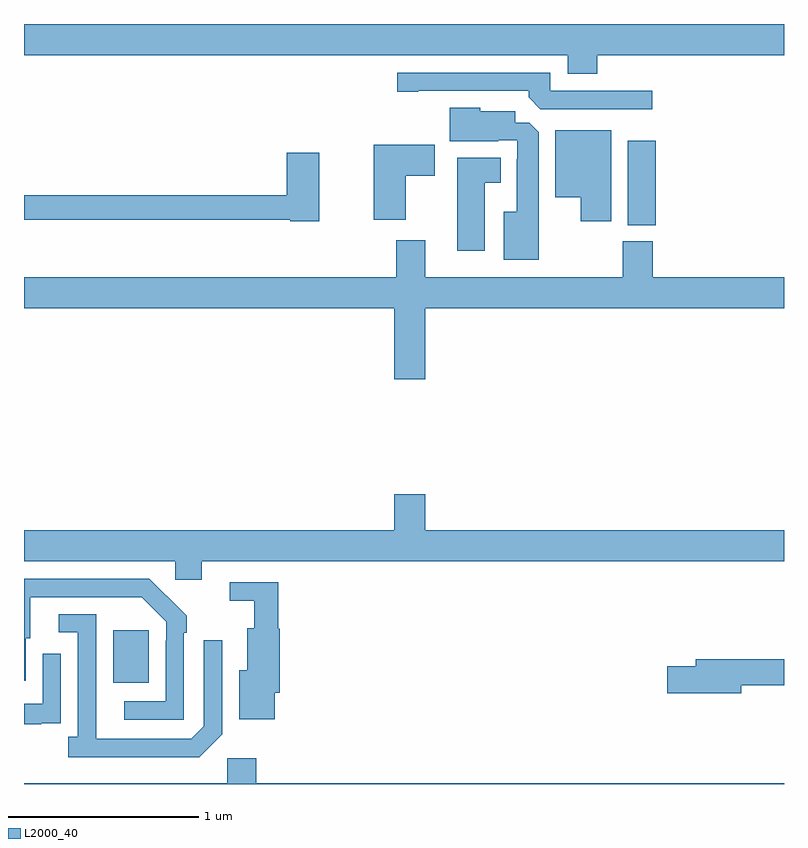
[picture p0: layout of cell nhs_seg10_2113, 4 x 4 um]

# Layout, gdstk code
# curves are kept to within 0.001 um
import gdstk
lib = gdstk.Library(unit=1e-6, precision=1e-09)
def R(c, l, rs):  # rectangles x0, y0, x1, y1
    for r in rs: c.add(gdstk.rectangle(r[:2], r[2:], *l))
def P(c, l, *ps):  # polygons
    for p in ps: c.add(gdstk.Polygon(p, *l))
L2000_40 = (2000, 40)

nhs_seg10_2113 = lib.new_cell('nhs_seg10_2113')
R(nhs_seg10_2113, L2000_40, [(223.469,1277.033,223.657,1277.308), (226.178,1279.441,226.325,1279.885)])
P(nhs_seg10_2113, L2000_40, [(226.016,1280.336),(227,1280.336),(227,1280.5),(223,1280.5),(223,1280.336),(225.863,1280.336),(225.863,1280.237),(226.016,1280.237)],
  [(226.306,1280.148),(225.771,1280.148),(225.771,1280.244),(224.964,1280.244),(224.964,1280.143),(225.076,1280.143),(225.076,1280.148),(225.656,1280.148),(225.656,1280.114),(225.717,1280.052),(226.306,1280.052)],
  [(225.709,1279.931),(225.66,1279.98),(225.586,1279.98),(225.586,1280.041),(225.402,1280.041),(225.402,1280.059),(225.242,1280.059),(225.242,1279.883),(225.497,1279.883),(225.497,1279.887),(225.597,1279.887),(225.597,1279.787),(225.593,1279.787),(225.593,1279.513),(225.524,1279.513),(225.524,1279.259),(225.709,1279.259)],
  [(226.09,1279.942),(225.797,1279.942),(225.797,1279.589),(225.929,1279.589),(225.929,1279.461),(226.09,1279.461)],
  [(225.01,1279.702),(225.163,1279.702),(225.163,1279.864),(224.84,1279.864),(224.84,1279.469),(225.01,1279.469)],
  [(224.554,1279.822),(224.384,1279.822),(224.384,1279.598),(223,1279.598),(223,1279.47),(224.4,1279.47),(224.4,1279.462),(224.554,1279.462)],
  [(225.424,1279.664),(225.508,1279.664),(225.508,1279.795),(225.281,1279.795),(225.281,1279.307),(225.424,1279.307)],
  [(225.112,1279.004),(227,1279.004),(227,1279.168),(226.31,1279.168),(226.31,1279.356),(226.15,1279.356),(226.15,1279.168),(225.112,1279.168),(225.112,1279.363),(224.96,1279.363),(224.96,1279.168),(223,1279.168),(223,1279.004),(224.948,1279.004),(224.948,1278.63),(225.112,1278.63)],
  [(227,1277.836),(225.112,1277.836),(225.112,1278.025),(224.948,1278.025),(224.948,1277.836),(223,1277.836),(223,1277.672),(223.797,1277.672),(223.797,1277.574),(223.936,1277.574),(223.936,1277.672),(227,1277.672)],
  [(223.842,1277.297),(223.857,1277.297),(223.857,1277.385),(223.66,1277.58),(223,1277.58),(223,1277.043),(223.009,1277.043),(223.009,1277.268),(223.033,1277.268),(223.033,1277.484),(223.621,1277.484),(223.749,1277.355),(223.749,1277.255),(223.746,1277.255),(223.746,1276.935),(223.527,1276.935),(223.527,1276.839),(223.842,1276.839)],
  [(224.32,1276.98),(224.345,1276.98),(224.345,1277.316),(224.339,1277.316),(224.339,1277.562),(224.082,1277.562),(224.082,1277.465),(224.211,1277.465),(224.211,1277.32),(224.174,1277.32),(224.174,1277.098),(224.132,1277.098),(224.132,1276.841),(224.32,1276.841)],
  [(224.043,1276.761),(224.043,1277.257),(223.947,1277.257),(223.947,1276.803),(223.881,1276.737),(223.381,1276.737),(223.38,1277.394),(223.182,1277.394),(223.182,1277.298),(223.284,1277.298),(223.284,1276.75),(223.233,1276.75),(223.233,1276.64),(223.922,1276.64)],
  [(223.091,1276.821),(223.193,1276.821),(223.193,1276.93),(223.194,1276.93),(223.194,1277.185),(223.098,1277.185),(223.098,1276.923),(223,1276.923),(223,1276.815),(223.091,1276.815)],
  [(226.774,1277.02),(227,1277.02),(227,1277.156),(226.535,1277.156),(226.535,1277.12),(226.386,1277.12),(226.386,1276.978),(226.774,1276.978)],
  [(227,1276.504),(224.222,1276.504),(224.222,1276.636),(224.07,1276.636),(224.07,1276.504),(223,1276.504),(223,1276.5),(227,1276.5)])

lib.write_gds('nhs_seg10_2113.gds')
